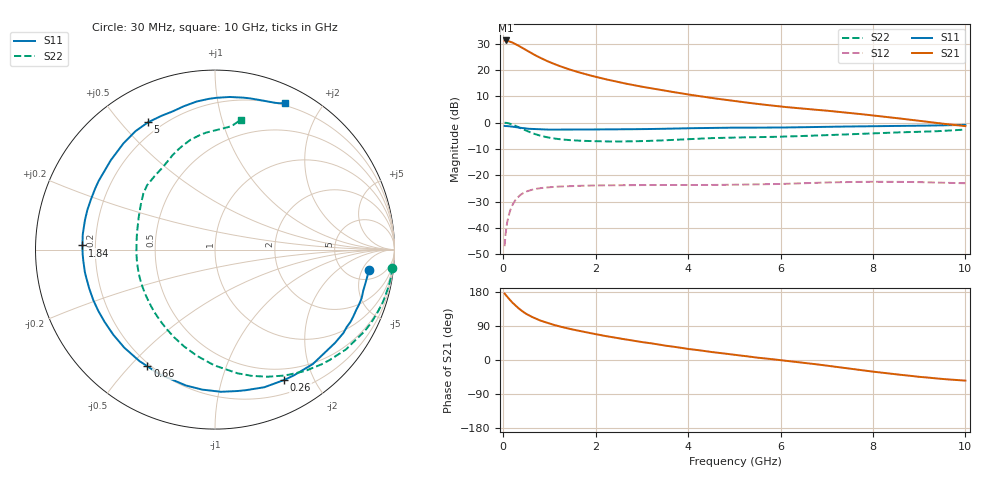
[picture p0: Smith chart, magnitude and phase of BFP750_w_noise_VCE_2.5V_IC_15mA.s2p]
! Infineon Technologies  Discrete & RF Semiconductors
! BFP750
! VCE =  2.5 V,  IC =  15 mA
! Common Emitter S-Parameters:  Jan 2016
# GHz  S  MA  R  50
!  f  S11  S21  S12  S22
! GHz  MAG  ANG  MAG  ANG  MAG  ANG  MAG  ANG
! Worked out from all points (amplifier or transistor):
!   229 points, 30 MHz to 10 GHz, reference 50 ohm
!   highest |S21| = 31.2 dB at 50 MHz (marker M1)
!   |S21| within 3 dB of that: start of sweep to 430.2 MHz
!   unconditionally stable (mu >= 1): 5.031 GHz to end of sweep
!   at 280 MHz: K = 0.09, MSG = 29.4 dB, |S12| = -29.1 dB
!   at 1.78 GHz: K = 0.44, MSG = 21.2 dB, |S12| = -24.0 dB
!   at 10 GHz: K = 1.11, MAG = 8.8 dB, |S12| = -23.0 dB
!   lowest NFmin = 0.69 dB at 450 MHz
!   S11 on the Smith chart (normalised r, x): 30 MHz: 7, -7; 260 MHz: 0.36, -1.61; 660 MHz: 0.19, -0.56; 1.84 GHz: 0.15, +0.02; 5 GHz: 0.15, +0.59; 10 GHz: 0.17, +1.58
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0.03  0.8638 -7.7  36.11 175.4  0.0045 84.8  0.9933 -5.8
0.05  0.8588 -13.0  36.26 171.9  0.0075 83.3  0.9913 -9.7
0.08  0.859 -20.8  35.93 168.1  0.0119 79.2  0.9832 -15.5
0.15  0.8469 -37.9  34.48 158.0  0.0213 70.4  0.9495 -28.6
0.2  0.8388 -49.5  33.06 151.3  0.0272 64.6  0.917 -37.4
0.26  0.8224 -62.0  31.17 144.3  0.0334 57.9  0.8718 -47.2
0.3  0.8146 -70.3  29.91 139.6  0.0369 54.2  0.8419 -53.5
0.4  0.7929 -87.6  26.61 129.7  0.044 45.8  0.7666 -67.5
0.5  0.7742 -102.1  23.62 121.6  0.049 39.2  0.7004 -79.7
0.66  0.7515 -120.1  19.69 111.6  0.0539 31.2  0.6165 -95.7
0.8  0.7442 -132.8  17 104.2  0.0568 26.0  0.5655 -107.9
1.02  0.7346 -147.7  13.88 95.3  0.0595 20.1  0.5124 -123.2
1.3  0.7338 -162.0  11.18 86.1  0.0615 14.8  0.4755 -138.6
1.7  0.7377 -177.4  8.685 75.3  0.0631 9.5  0.4515 -155.5
1.84  0.739 178.2  8.031 71.9  0.0636 8.0  0.4469 -160.4
2.6  0.7456 158.1  5.607 55.2  0.0647 1.6  0.4386 176.7
3.4  0.7606 141.4  4.172 40.2  0.0653 -3.2  0.4571 159.1
5  0.8014 117.8  2.57 13.6  0.0661 -9.5  0.5215 136.5
5.1  0.801 116.6  2.505 12.3  0.0663 -9.8  0.5225 135.2
6.8  0.825 99.1  1.741 -11.7  0.0719 -16.1  0.5686 115.9
8.4  0.8613 79.4  1.247 -36.3  0.075 -27.2  0.6457 97.0
10  0.9054 64.3  0.857 -54.4  0.0705 -36.1  0.7374 78.7
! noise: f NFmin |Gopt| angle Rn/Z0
0.45  0.69  0.06  7  1.18
0.9  0.7  0.06  10  0.61
1.5  0.71  0.07  107  0.34
1.9  0.73  0.11  148  0.12
2.4  0.79  0.15  -179  0.07
3.5  1.05  0.24  -154  0.05
